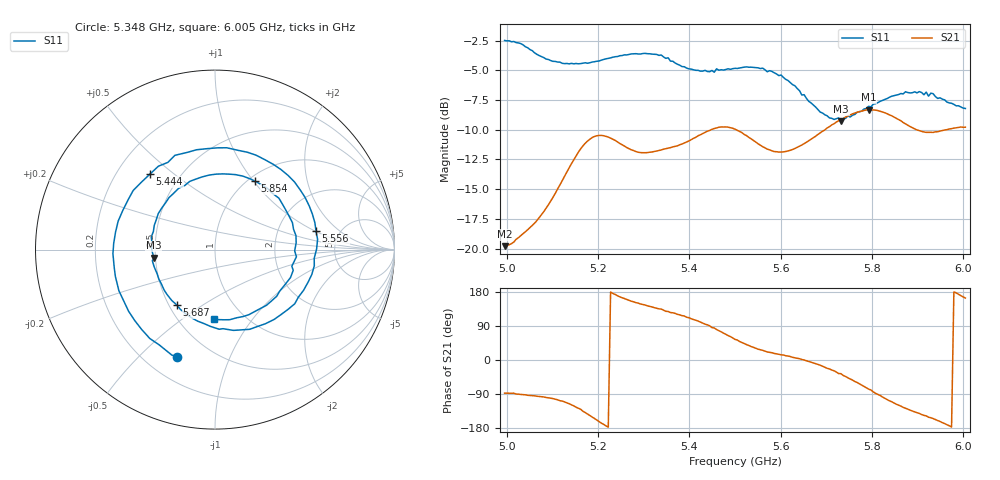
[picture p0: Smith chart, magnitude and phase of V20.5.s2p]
!File created by NanoVNA
# Hz S RI R 50
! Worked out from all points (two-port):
!   201 points, 4.995 GHz to 6.005 GHz, reference 50 ohm
!   highest |S21| = -8.32 dB at 5.793 GHz (marker M1); lowest = -19.8 dB at 4.995 GHz (marker M2)
!   |S21| within 3 dB of the highest: 5.376 GHz to 5.556 GHz (180.5 MHz wide, 3.3 % of centre); 5.645 GHz to end of sweep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
!   lowest |S11| = -9.3 dB at 5.732 GHz (marker M3), VSWR 2.05, Z = 24.5 - j2.52 ohm
!   |S11| at or under -10 dB: nowhere
!   S12 and S22 are empty: the file has one direction only
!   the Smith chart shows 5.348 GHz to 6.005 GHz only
!   S11 on the Smith chart (normalised r, x): 5.348 GHz: 0.33, -0.65; 5.444 GHz: 0.34, +0.41; 5.556 GHz: 3.33, +1.02; 5.687 GHz: 0.55, -0.40; 5.854 GHz: 1.08, +1.02; 6.005 GHz: 0.73, -0.67
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4.995e9  0.2074 -0.7221  0.00459 -0.1023  0 0  0 0
5.03035e9  -0.3069 -0.6612  -0.00185 -0.1134  0 0  0 0
5.0758e9  -0.6364 -0.0861  -0.0163 -0.1379  0 0  0 0
5.1162e9  -0.441 0.42  -0.0555 -0.1768  0 0  0 0
5.1667e9  0.1248 0.5895  -0.1924 -0.1901  0 0  0 0
5.2172e9  0.5577 0.2908  -0.2951 -0.0316  0 0  0 0
5.2576e9  0.6427 -0.1186  -0.2572 0.0827  0 0  0 0
5.33335e9  0.0105 -0.6501  -0.1829 0.1831  0 0  0 0
5.3485e9  -0.2104 -0.5957  -0.1636 0.2063  0 0  0 0
5.39395e9  -0.555 -0.1499  -0.109 0.2589  0 0  0 0
5.44445e9  -0.3616 0.4213  -0.00179 0.3143  0 0  0 0
5.5e9  0.2297 0.5257  0.1853 0.2586  0 0  0 0
5.55555e9  0.5628 0.1031  0.2425 0.1239  0 0  0 0
5.6212e9  0.2798 -0.4135  0.2559 0.0412  0 0  0 0
5.6717e9  -0.1301 -0.3802  0.29 -0.0396  0 0  0 0
5.68685e9  -0.2105 -0.3106  0.2981 -0.0729  0 0  0 0
5.7323e9  -0.3404 -0.0453  0.2828 -0.2059  0 0  0 0
5.7929e9  -0.2023 0.3417  0.0873 -0.3738  0 0  0 0
5.83835e9  0.1145 0.4177  -0.1109 -0.3482  0 0  0 0
5.8535e9  0.2238 0.3812  -0.1586 -0.3157  0 0  0 0
5.91915e9  0.4537 -0.0399  -0.2599 -0.166  0 0  0 0
6.005e9  -0.0083 -0.3887  -0.3107 0.0925  0 0  0 0
